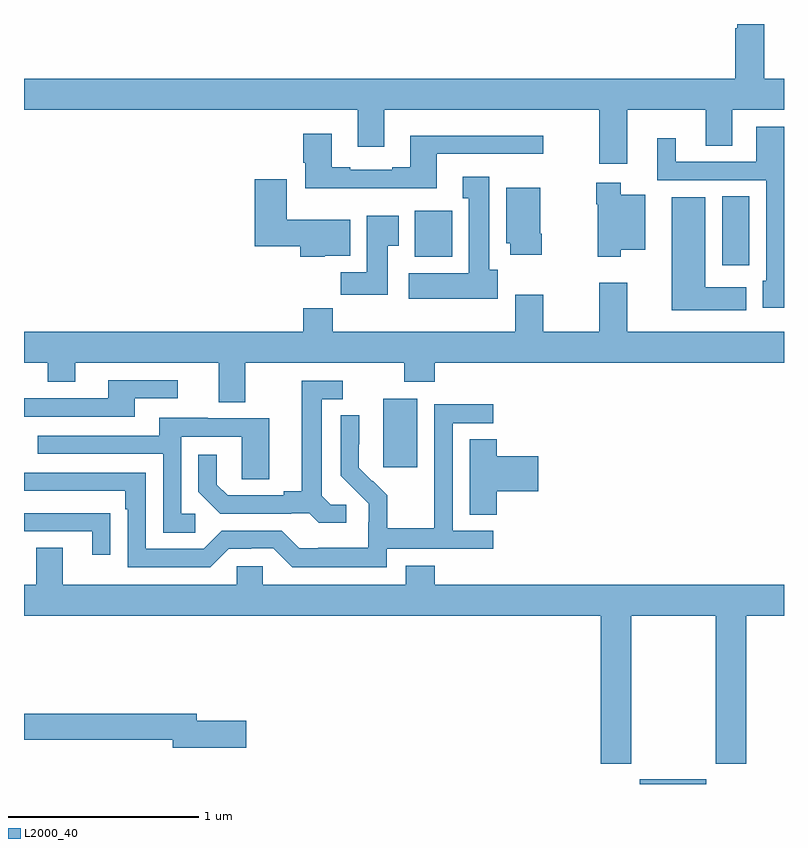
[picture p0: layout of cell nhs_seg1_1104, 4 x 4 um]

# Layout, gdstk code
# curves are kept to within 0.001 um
import gdstk
lib = gdstk.Library(unit=1e-6, precision=1e-09)
def R(c, l, rs):  # rectangles x0, y0, x1, y1
    for r in rs: c.add(gdstk.rectangle(r[:2], r[2:], *l))
def P(c, l, *ps):  # polygons
    for p in ps: c.add(gdstk.Polygon(p, *l))
L2000_40 = (2000, 40)

nhs_seg1_1104 = lib.new_cell('nhs_seg1_1104')
R(nhs_seg1_1104, L2000_40, [(174.242,532.199,174.592,532.225), (172.892,533.865,173.071,534.226), (174.674,534.93,174.817,535.292), (173.057,534.974,173.254,535.216)])
P(nhs_seg1_1104, L2000_40, [(174.175,535.748),(174.587,535.748),(174.587,535.558),(174.727,535.558),(174.727,535.748),(175,535.748),(175,535.912),(174.895,535.912),(174.895,536.199),(174.755,536.199),(174.755,536.177),(174.743,536.177),(174.743,535.912),(171,535.912),(171,535.748),(172.757,535.748),(172.757,535.554),(172.897,535.554),(172.897,535.748),(174.028,535.748),(174.028,535.464),(174.175,535.464)],
  [(175,535.657),(174.854,535.657),(174.854,535.473),(174.43,535.473),(174.43,535.597),(174.332,535.597),(174.332,535.377),(174.906,535.377),(174.906,534.849),(174.887,534.849),(174.887,534.705),(175,534.705)],
  [(173.173,535.515),(173.734,535.515),(173.734,535.612),(173.033,535.612),(173.033,535.444),(172.937,535.444),(172.937,535.431),(172.717,535.431),(172.717,535.444),(172.621,535.444),(172.621,535.621),(172.469,535.621),(172.469,535.468),(172.481,535.468),(172.481,535.334),(173.173,535.334)],
  [(173.494,534.906),(173.449,534.906),(173.449,535.396),(173.309,535.396),(173.309,535.283),(173.342,535.283),(173.342,534.886),(173.025,534.886),(173.025,534.752),(173.494,534.752)],
  [(172.584,534.98),(172.717,534.98),(172.717,535.168),(172.384,535.168),(172.384,535.381),(172.214,535.381),(172.214,535.028),(172.454,535.028),(172.454,534.974),(172.584,534.974)],
  [(174.142,535.01),(174.271,535.01),(174.271,535.3),(174.142,535.3),(174.142,535.363),(174.013,535.363),(174.013,535.25),(174.02,535.25),(174.02,534.974),(174.142,534.974)],
  [(173.724,535.096),(173.716,535.096),(173.716,535.336),(173.537,535.336),(173.537,535.044),(173.558,535.044),(173.558,534.984),(173.724,534.984)],
  [(174.802,534.814),(174.586,534.814),(174.586,535.288),(174.41,535.288),(174.41,534.692),(174.802,534.692)],
  [(172.915,535.033),(172.972,535.033),(172.972,535.189),(172.805,535.189),(172.805,534.892),(172.666,534.892),(172.666,534.774),(172.915,534.774)],
  [(172.165,534.416),(173.002,534.416),(173.002,534.317),(173.162,534.317),(173.162,534.416),(175,534.416),(175,534.58),(174.175,534.58),(174.175,534.838),(174.028,534.838),(174.028,534.58),(173.733,534.58),(173.733,534.775),(173.585,534.775),(173.585,534.58),(172.625,534.58),(172.625,534.704),(172.469,534.704),(172.469,534.58),(171,534.58),(171,534.416),(171.124,534.416),(171.124,534.317),(171.271,534.317),(171.271,534.416),(172.025,534.416),(172.025,534.208),(172.165,534.208)],
  [(171.583,534.228),(171.808,534.228),(171.808,534.324),(171.443,534.324),(171.443,534.228),(171,534.228),(171,534.132),(171.583,534.132)],
  [(172.696,533.67),(172.614,533.67),(172.567,533.717),(172.567,534.225),(172.678,534.225),(172.678,534.321),(172.463,534.321),(172.463,533.741),(172.367,533.741),(172.367,533.718),(172.072,533.718),(172.015,533.775),(172.015,533.932),(171.918,533.932),(171.918,533.738),(172.034,533.622),(172.406,533.622),(172.406,533.625),(172.5,533.625),(172.552,533.573),(172.696,533.573)],
  [(172.908,533.436),(173.47,533.436),(173.47,533.532),(173.256,533.532),(173.256,534.099),(173.47,534.099),(173.47,534.198),(173.16,534.198),(173.16,533.768),(173.158,533.768),(173.158,533.545),(172.913,533.545),(172.913,533.719),(172.836,533.796),(172.833,533.793),(172.763,533.864),(172.764,534.14),(172.668,534.14),(172.668,533.822),(172.814,533.674),(172.814,533.577),(172.812,533.577),(172.812,533.443),(172.549,533.443),(172.549,533.439),(172.449,533.439),(172.356,533.532),(172.041,533.532),(171.945,533.436),(171.642,533.436),(171.642,533.838),(171,533.838),(171,533.742),(171.533,533.742),(171.533,533.645),(171.546,533.645),(171.546,533.34),(171.981,533.34),(172.077,533.436),(172.196,533.436),(172.196,533.439),(172.311,533.439),(172.411,533.339),(172.908,533.339)],
  [(171.901,533.622),(171.828,533.622),(171.828,534.027),(172.146,534.027),(172.146,533.803),(172.291,533.803),(172.291,534.123),(171.967,534.123),(171.967,534.127),(171.713,534.127),(171.713,534.033),(171.073,534.033),(171.073,533.937),(171.732,533.937),(171.732,533.521),(171.901,533.521)],
  [(173.489,533.741),(173.707,533.741),(173.707,533.924),(173.489,533.924),(173.489,534.014),(173.345,534.014),(173.345,533.617),(173.489,533.617)],
  [(171.455,533.624),(171.353,533.624),(171.353,533.625),(171,533.625),(171,533.529),(171.359,533.529),(171.359,533.406),(171.455,533.406)],
  [(174.195,533.084),(174.64,533.084),(174.64,532.305),(174.8,532.305),(174.8,533.084),(175,533.084),(175,533.248),(173.162,533.248),(173.162,533.347),(173.009,533.347),(173.009,533.248),(172.257,533.248),(172.257,533.346),(172.119,533.346),(172.119,533.248),(171.205,533.248),(171.205,533.443),(171.065,533.443),(171.065,533.248),(171,533.248),(171,533.084),(174.035,533.084),(174.035,532.305),(174.195,532.305)],
  [(172.171,532.532),(171.91,532.532),(171.91,532.568),(171,532.568),(171,532.432),(171.782,532.432),(171.782,532.39),(172.171,532.39)])

lib.write_gds('nhs_seg1_1104.gds')
